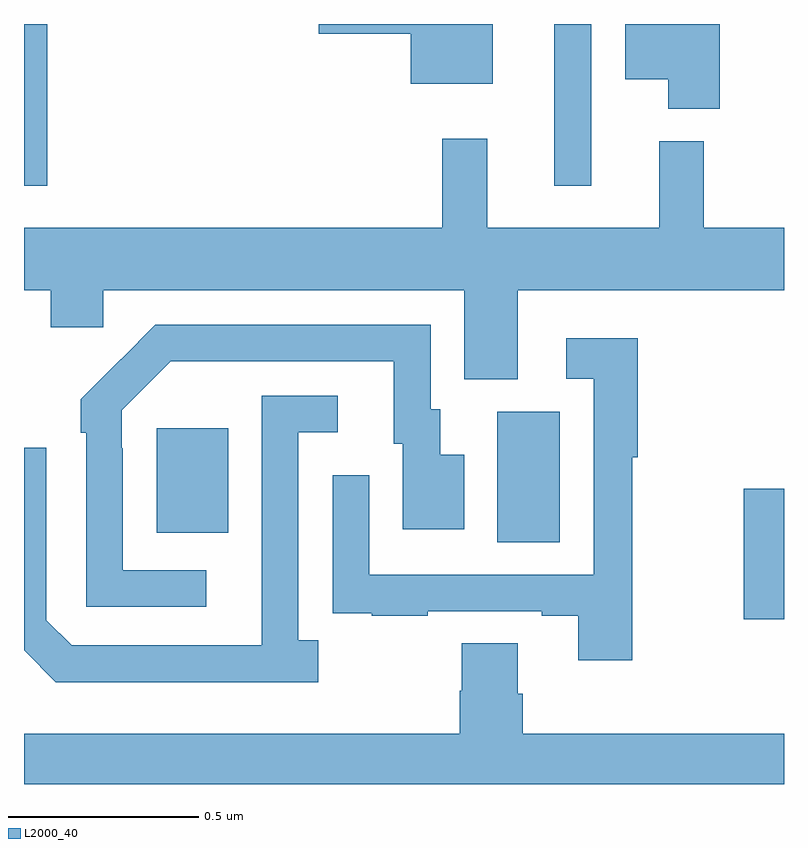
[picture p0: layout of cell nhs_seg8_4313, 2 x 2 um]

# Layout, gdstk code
import gdstk
lib = gdstk.Library(unit=1e-6, precision=1e-09)
def R(c, l, rs):  # rectangles x0, y0, x1, y1
    for r in rs: c.add(gdstk.rectangle(r[:2], r[2:], *l))
def P(c, l, *ps):  # polygons
    for p in ps: c.add(gdstk.Polygon(p, *l))
L2000_40 = (2000, 40)

nhs_seg8_4313 = lib.new_cell('nhs_seg8_4313')
R(nhs_seg8_4313, L2000_40, [(170.894,1082.333,171,1082.677), (170.246,1082.536,170.41,1082.88), (169.349,1082.561,169.537,1082.836), (169,1083.474,169.061,1083.9), (170.396,1083.474,170.493,1083.9)])
P(nhs_seg8_4313, L2000_40, [(170.831,1083.9),(170.582,1083.9),(170.582,1083.755),(170.696,1083.755),(170.696,1083.677),(170.831,1083.677)],
  [(170.233,1083.9),(169.776,1083.9),(169.776,1083.875),(170.018,1083.875),(170.018,1083.743),(170.233,1083.743)],
  [(170.299,1083.2),(171,1083.2),(171,1083.364),(170.789,1083.364),(170.789,1083.592),(170.672,1083.592),(170.672,1083.364),(170.219,1083.364),(170.219,1083.598),(170.101,1083.598),(170.101,1083.364),(169,1083.364),(169,1083.2),(169.07,1083.2),(169.07,1083.102),(169.209,1083.102),(169.209,1083.2),(170.159,1083.2),(170.159,1082.965),(170.299,1082.965)],
  [(169.48,1082.463),(169.26,1082.463),(169.26,1082.783),(169.257,1082.783),(169.257,1082.883),(169.386,1083.012),(169.973,1083.012),(169.973,1082.796),(169.997,1082.796),(169.997,1082.571),(170.158,1082.571),(170.158,1082.767),(170.095,1082.767),(170.095,1082.886),(170.07,1082.886),(170.07,1083.108),(169.346,1083.108),(169.255,1083.017),(169.254,1083.018),(169.149,1082.913),(169.149,1082.825),(169.164,1082.825),(169.164,1082.367),(169.48,1082.367)],
  [(170.6,1082.76),(170.615,1082.76),(170.615,1083.073),(170.427,1083.073),(170.427,1082.967),(170.499,1082.967),(170.499,1082.451),(169.908,1082.451),(169.908,1082.713),(169.812,1082.713),(169.812,1082.458),(169.813,1082.458),(169.813,1082.349),(169.915,1082.349),(169.915,1082.343),(170.063,1082.343),(170.063,1082.355),(170.363,1082.355),(170.363,1082.343),(170.459,1082.343),(170.459,1082.226),(170.6,1082.226)],
  [(169.774,1082.278),(169.722,1082.278),(169.722,1082.826),(169.825,1082.826),(169.825,1082.922),(169.626,1082.922),(169.626,1082.465),(169.625,1082.465),(169.625,1082.265),(169.125,1082.265),(169.059,1082.331),(169.059,1082.785),(169,1082.785),(169,1082.252),(169.084,1082.168),(169.774,1082.168)],
  [(171,1082.032),(170.312,1082.032),(170.312,1082.138),(170.299,1082.138),(170.299,1082.27),(170.152,1082.27),(170.152,1082.145),(170.147,1082.145),(170.147,1082.032),(169,1082.032),(169,1081.9),(171,1081.9)])

lib.write_gds('nhs_seg8_4313.gds')
